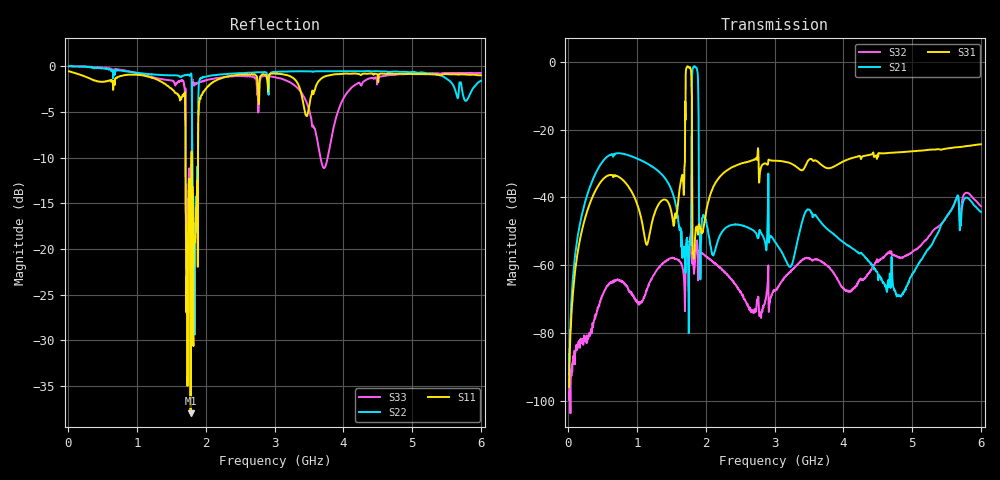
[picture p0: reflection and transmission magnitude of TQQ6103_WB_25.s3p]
! TDS: K:\Engsetup\Winsaw\TQQ6103DS
! Channel 2
! Ports=1 2 3
! FreqRange: 10.0000,6000.0000
! Points=1601
! FailCode=0
! Topology=ALL_SE(123)
# MHz S DB R 50
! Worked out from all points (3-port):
!   1601 points, 10 MHz to 6 GHz, reference 50 ohm
!   strongest paths, dB at 10 MHz, 1.508 GHz, 3.005 GHz, 4.503 GHz, 6 GHz:
!     S31: -95.9, -45.4, -29.2, -28.1, -24.3
!     S21: -92.3, -38.2, -53.1, -63.1, -44.3
!     S32: -94.1, -57.9, -67.4, -58.8, -42.6
!   lowest |S11| = -38.0 dB at 1.777 GHz (marker M1), VSWR 1.03, Z = 51.3 + j0.261 ohm
!   |S11| at or under -10 dB: 1.704 GHz to 1.791 GHz (87.02 MHz wide, 4.98 % of centre); 1.793 GHz to 1.885 GHz (92.64 MHz wide, 5.04 % of centre)
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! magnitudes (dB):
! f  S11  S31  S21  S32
! 10 MHz  -0.6  -95.9  -92.3  -94.1
! 530.4 MHz  -1.7  -34.1  -28.6  -67.4
! 1.545 GHz  -2.8  -45.5  -40.7  -58.1
! 1.725 GHz  -22.8  -1.5  -51.9  -53.0
! 1.777 GHz  -38.0  -2.0  -54.0  -50.8
! 1.833 GHz  -19.0  -55.5  -1.3  -61.3
! 1.931 GHz  -3.2  -50.0  -52.2  -56.3
! 3.005 GHz  -0.8  -29.2  -53.1  -67.4
! 4.817 GHz  -0.8  -26.7  -68.9  -57.8
! 6 GHz  -1.0  -24.3  -44.3  -42.6
